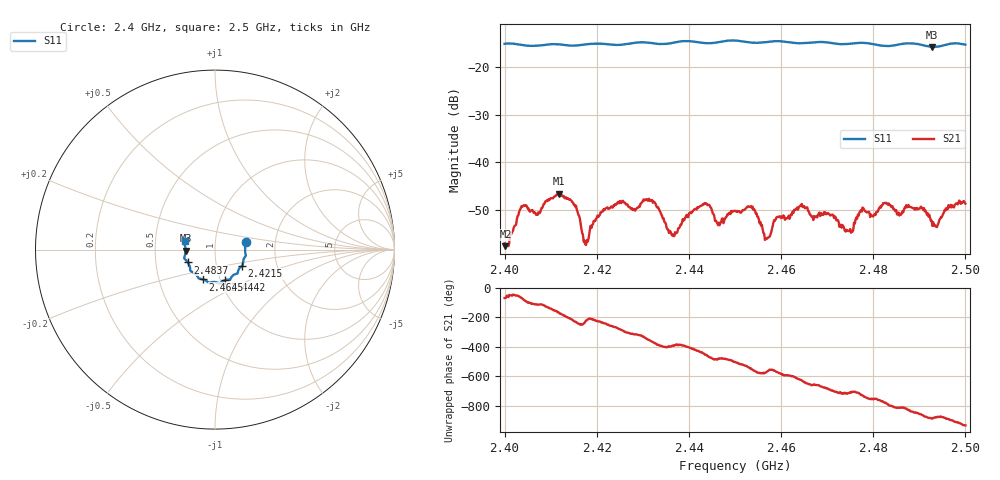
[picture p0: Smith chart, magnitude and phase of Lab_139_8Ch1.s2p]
# Hz S RI R 50
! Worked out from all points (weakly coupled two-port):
!   601 points, 2.4 GHz to 2.5 GHz, reference 50 ohm
!   highest |S21| = -46.55 dB at 2.4118 GHz (marker M1); lowest = -57.6 dB at 2.4002 GHz (marker M2)
!   lowest |S11| = -15.7 dB at 2.4928 GHz (marker M3), VSWR 1.39, Z = 36 - j0.379 ohm
!   |S11| at or under -10 dB: start of sweep to end of sweep
!   S12 and S22 are empty: the file has one direction only
!   S11 on the Smith chart (normalised r, x): 2.4 GHz: 1.41, +0.12; 2.4215 GHz: 1.33, -0.25; 2.4442 GHz: 1.05, -0.37; 2.4645 GHz: 0.83, -0.29; 2.4837 GHz: 0.73, -0.11; 2.5 GHz: 0.71, +0.07
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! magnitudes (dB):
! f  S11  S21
! 2.4 GHz  -15.1  -57.0
! 2.4002 GHz  -15.1  -57.6
! 2.4038 GHz  -15.3  -49.3
! 2.4118 GHz  -15.2  -46.6
! 2.4167 GHz  -15.3  -53.9
! 2.4177 GHz  -15.2  -57.3
! 2.4215 GHz  -15.1  -49.8
! 2.4333 GHz  -15.1  -49.4
! 2.4367 GHz  -14.8  -55.5
! 2.4442 GHz  -15.0  -48.9
! 2.4463 GHz  -14.7  -53.2
! 2.45 GHz  -14.4  -50.2
! 2.4538 GHz  -14.8  -49.3
! 2.457 GHz  -14.7  -55.9
! 2.4645 GHz  -15.0  -48.7
! 2.4667 GHz  -14.8  -51.4
! 2.475 GHz  -15.1  -54.0
! 2.4775 GHz  -14.9  -50.3
! 2.4833 GHz  -15.6  -48.6
! 2.4837 GHz  -15.5  -48.9
! 2.4928 GHz  -15.7  -53.3
! 2.5 GHz  -15.3  -48.7
